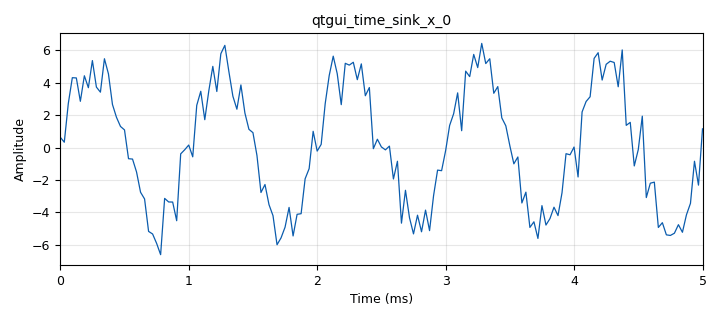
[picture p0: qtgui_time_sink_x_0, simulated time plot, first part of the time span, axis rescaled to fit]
options:
  parameters:
    author: lufero
    generate_options: qt_gui
    id: promedio
    output_language: python
    title: Not titled yet
  states: {}

blocks:
- name: samp_rate
  id: variable
  parameters:
    value: '32000'
  states: {}
- name: analog_noise_source_x_0
  id: analog_noise_source_x
  parameters:
    amp: '1'
    noise_type: analog.GR_GAUSSIAN
    seed: '0'
    type: float
  states: {}
- name: analog_sig_source_x_0
  id: analog_sig_source_x
  parameters:
    amp: '5'
    freq: '1000'
    offset: '0'
    phase: '0'
    samp_rate: samp_rate
    type: float
    waveform: analog.GR_SIN_WAVE
  states: {}
- name: analog_sig_source_x_1
  id: analog_sig_source_x
  parameters:
    amp: '5'
    freq: '1000'
    offset: '0'
    phase: '0'
    samp_rate: samp_rate
    type: float
    waveform: analog.GR_COS_WAVE
  states: {state: disabled}
- name: blocks_add_xx_0
  id: blocks_add_xx
  parameters:
    type: float
  states: {}
- name: epy_block_0
  id: epy_block
  parameters:
    _source_code: |
      """
      Embedded Python Blocks:

      Each time this file is saved, GRC will instantiate the first class it finds
      to get ports and parameters of your block. The arguments to __init__  will
      be the parameters. All of them are required to have default values!
      """

      import numpy as np
      from gnuradio import gr
      class blk (gr.sync_block ):

          def __init__ (self): # only default arguments here
              gr.sync_block.__init__ (
              self,
              name ='Promedios_de_tiempos', # will show up in GRC
              in_sig =[np.float32],
              out_sig =[ np.float32,np.float32,np.float32,np.float32,np.float32]
              )
              self.acum_anterior = 0
              self.Ntotales = 0
              self.Ntotales3 = 0
              self.acum_anterior1 = 0
              self.acum_anterior2 = 0
              self.acum_anterior3 = 0
              
          def work (self, input_items, output_items ):
              x = input_items [0] # Senial de entrada .
              y0 = output_items [0] # Promedio de la senial
              y1 = output_items [1] # Media de la senial
              y2 = output_items [2] # RMS de la senial
              y3 = output_items [3] # Potencia promedio de la senial
              y4 = output_items [4] # Desviacion estandar de la senial
              
              # Calculo del promedio
              N = len (x)
              self.Ntotales = self.Ntotales + N
              acumulado = self.acum_anterior + np.cumsum (x)
              self.acum_anterior = acumulado [N -1]
              y0 [:]= acumulado / self.Ntotales
              
              # Calculo de la media cuadratica
              x2=np. multiply (x,x)
              acumulado1 = self.acum_anterior1 + np.cumsum (x2)
              self.acum_anterior1 = acumulado1 [N -1]
              y1 [:] = acumulado1 / self.Ntotales
               
              # Calculo de la potencia promedio
              # y3 [:] = np.multiply (y2,y2) esta mal
              
              # Calculo de la potencia promedio
              x4= np.multiply (x,x)
              self.Ntotales3 = self.Ntotales3 + N
              acumulado3 = self.acum_anterior3 + np.cumsum (x4)
              self.acum_anterior3 = acumulado3 [N-1]
              y3[:]= acumulado3 / self.Ntotales3
              
              # Calculo de la RMS
              y2 [:] = np.sqrt (y3)
              
             
              
              # Calculo de la desviacion estandar
              x3 = np.multiply (x-y0 ,x-y0)
              acumulado2 = self.acum_anterior2 + np.cumsum (x3)
              self.acum_anterior2 = acumulado2 [N -1]
              y4 [:] = np.sqrt ( acumulado2 / self.Ntotales )
              
              return len (x)
  states: {}
- name: qtgui_number_sink_0
  id: qtgui_number_sink
  parameters:
    graph_type: qtgui.NUM_GRAPH_HORIZ
    name: '"Promedio (media)"'
    type: float
  states: {}
- name: qtgui_number_sink_0_0
  id: qtgui_number_sink
  parameters:
    graph_type: qtgui.NUM_GRAPH_HORIZ
    name: '"RMS"'
    type: float
  states: {}
- name: qtgui_number_sink_0_1
  id: qtgui_number_sink
  parameters:
    graph_type: qtgui.NUM_GRAPH_HORIZ
    name: '"Media Cuadratica"'
    type: float
  states: {}
- name: qtgui_number_sink_0_2
  id: qtgui_number_sink
  parameters:
    graph_type: qtgui.NUM_GRAPH_HORIZ
    name: '"Potencia Promedio"'
    type: float
  states: {}
- name: qtgui_number_sink_0_3
  id: qtgui_number_sink
  parameters:
    graph_type: qtgui.NUM_GRAPH_HORIZ
    name: '"Desviacion Estandar"'
    type: float
  states: {}
- name: qtgui_time_sink_x_0
  id: qtgui_time_sink_x
  parameters:
    size: '1024'
    srate: samp_rate
    type: float
  states: {}

connections:
- [analog_noise_source_x_0, '0', blocks_add_xx_0, '0']
- [analog_sig_source_x_0, '0', blocks_add_xx_0, '1']
- [blocks_add_xx_0, '0', epy_block_0, '0']
- [blocks_add_xx_0, '0', qtgui_time_sink_x_0, '0']
- [epy_block_0, '0', qtgui_number_sink_0, '0']
- [epy_block_0, '1', qtgui_number_sink_0_1, '0']
- [epy_block_0, '2', qtgui_number_sink_0_0, '0']
- [epy_block_0, '3', qtgui_number_sink_0_2, '0']
- [epy_block_0, '4', qtgui_number_sink_0_3, '0']

metadata:
  file_format: 1
  grc_version: 3.10.9.2
